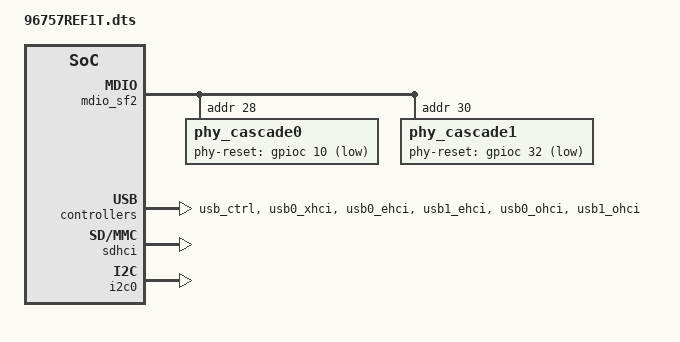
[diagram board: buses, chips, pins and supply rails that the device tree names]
#include "6756.dtsi"

/ {
	memory_controller {
		memcfg = <(BP_DDR_TYPE_DDR4           | \
			BP_DDR_SPEED_1067_15_15_15 | \
			BP_DDR_TOTAL_SIZE_1024MB   | \
			BP_DDR_DEVICE_WIDTH_16     | \
			BP_DDR_TOTAL_WIDTH_16BIT   | \
			BP_DDR_6756_DEFAULT          | \
			BP_DDR_CONFIG_DEBUG)>;
	};

	buttons {
		compatible = "brcm,buttons";
		ses_button {
			ext_irq = <&bca_extintr 4 GPIO_ACTIVE_LOW (BCA_EXTINTR_TYPE_LOW_LEVEL | BCA_EXTINTR_TYPE_SENSE_EDGE)>;
			release {
				ses_short_period = <0>;
				ses_long_period = <3>;
			};
		};
	};
};


&mdio_sf2 {
   /* Port PHY mapping:
        port_imp -8#0- port_gphy <---> phy_gphy
                  # 5- port_sgmii0 <-> phy_serdes0 - phy_cascade0
                  ##6- port_sgmii1 <-> phy_serdes1 - phy_cascade1
     */
	phy_gphy {
		status = "okay";
	};
	phy_cascade0 {
		reg = <28>;
		phy-reset = <&gpioc 10 GPIO_ACTIVE_LOW>;
		enet-phy-lane-swap;
		status = "okay";
	};
	phy_serdes0 {
		phy-handle = <&phy_cascade0>;
		status = "okay";
	};
	phy_cascade1 {
		reg = <30>;
		phy-reset = <&gpioc 32 GPIO_ACTIVE_LOW>;
		enet-phy-lane-swap;
		status = "okay";
	};
	phy_serdes1 {
		phy-handle = <&phy_cascade1>;
		status = "okay";
	};
};

&switch0 {
	pinctrl-names = "default"; 
	pinctrl-0 = <&a_rgmii_mdc_pin_68 &a_rgmii_mdio_pin_69>; 

	ports {
		port_gphy {
			phy-handle = <&phy_gphy>;
			status = "okay";
		};
		port_sgmii0 {
			phy-handle = <&phy_serdes0>;
			status = "okay";
		};
		port_sgmii1 {
			phy-handle = <&phy_serdes1>;
			status = "okay";
		};
	};
};

&usb_ctrl {
	pinctrl-names="default";
	pinctrl-0 = <&usb0_pwr_pins &usb1_pwr_pins>;
	pwron-bias-pull-up;
	status = "okay";
	xhci-enable;
};

&usb0_xhci {
	status = "okay";
};

&usb0_ehci {
	status = "okay";
};

&usb1_ehci {
	status = "okay";
};

&usb0_ohci {
	status = "okay";
};

&usb1_ohci {
	status = "okay";
};

&sdhci {
	pinctrl-names="default";
	pinctrl-0 = <&emmc_ctrl_pins>;
	status = "okay";
};

&i2c0 {
	pinctrl-names="default";
	pinctrl-0 = <&i2c_sda_pin_16 &i2c_scl_pin_17>;
	status = "okay";
};
